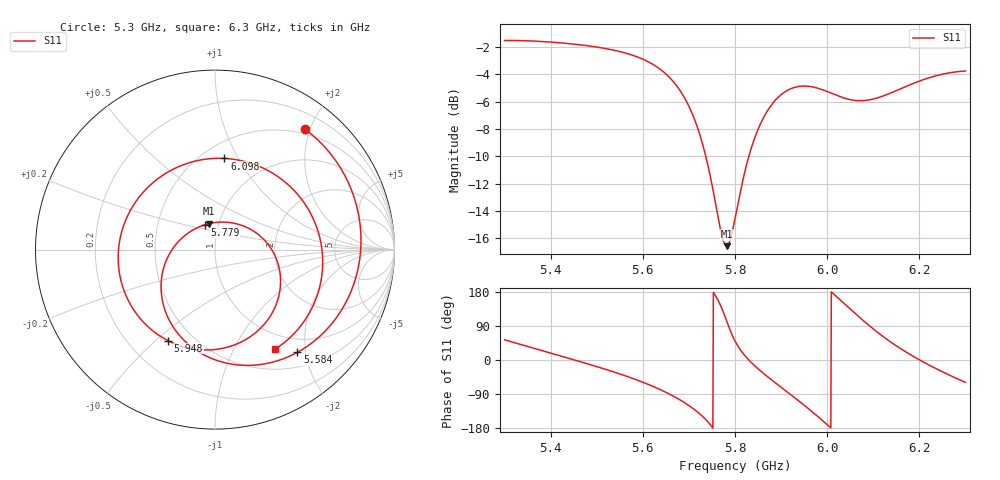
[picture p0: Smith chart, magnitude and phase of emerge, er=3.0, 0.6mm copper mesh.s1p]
! Generated by EMerge - 1-port S-parameters
! File generated: 2026-04-04 01:24
# GHZ S RI R 50
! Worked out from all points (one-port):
!   1001 points, 5.3 GHz to 6.3 GHz, reference 50 ohm
!   lowest |S11| = -16.6 dB at 5.782 GHz (marker M1), VSWR 1.35, Z = 45 + j13.3 ohm
!   |S11| at or under -10 dB: 5.737 GHz to 5.83 GHz (93.47 MHz wide, 1.62 % of centre)
!   S11 on the Smith chart (normalised r, x): 5.3 GHz: 0.43, +1.92; 5.584 GHz: 0.74, -1.84; 5.779 GHz: 0.86, +0.24; 5.948 GHz: 0.36, -0.55; 6.098 GHz: 0.64, +0.88; 6.3 GHz: 0.77, -1.47
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5.3  0.5019 0.6705
5.366  0.7209 0.417
5.425  0.8088 0.1352
5.488  0.7775 -0.1788
5.55  0.6112 -0.4566
5.584  0.4588 -0.5724
5.633  0.167 -0.645
5.675  -0.1109 -0.5565
5.705  -0.2613 -0.3804
5.729  -0.3001 -0.1866
5.752  -0.2396 -0.000712
5.779  -0.0571 0.1382
5.782  -0.0322 0.145
5.8  0.1197 0.1438
5.831  0.3204 -0.00753
5.859  0.3612 -0.2304
5.895  0.2022 -0.4812
5.925  -0.0513 -0.5591
5.948  -0.2615 -0.5075
5.976  -0.4625 -0.3207
6  -0.5377 -0.0902
6.024  -0.5032 0.1503
6.05  -0.3579 0.3623
6.098  0.0527 0.5081
6.132  0.3246 0.4235
6.175  0.544 0.1789
6.232  0.582 -0.2128
6.3  0.3324 -0.5561
